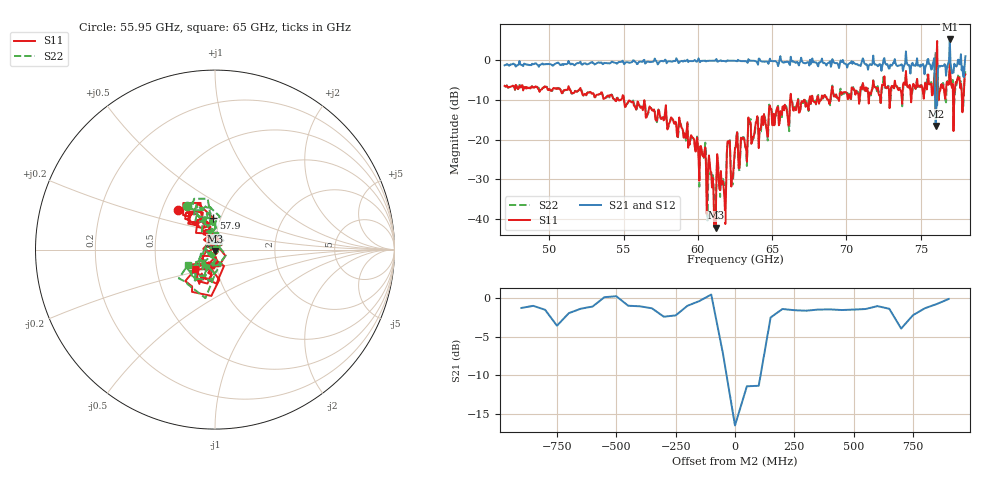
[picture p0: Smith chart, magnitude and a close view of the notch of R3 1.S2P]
! Python used to change reference impedance from 50 to 1.
# Hz S RI R 1
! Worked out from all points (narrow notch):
!   621 points, 47 GHz to 78 GHz, reference 1 ohm
!   highest |S21| = 5.27 dB at 76.95 GHz (marker M1); lowest = -16.5 dB at 76 GHz (marker M2)
!   notch at M2: 15.8 dB deep, 158 MHz wide at half that depth
!   lowest |S11| = -42.1 dB at 61.2 GHz (marker M3), VSWR 1.02, Z = 1 - j0.015 ohm
!   |S11| at or under -10 dB: 55.03 GHz to 66.21 GHz (11.18 GHz wide, 18.4 % of centre); 66.29 GHz to 66.75 GHz (456.2 MHz wide, 0.686 % of centre); 66.75 GHz to 67.15 GHz (396.6 MHz wide, 0.592 % of centre)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
!   |S22| runs from -40.3 to 2.1 dB; largest |S21 - S12| = 0.56
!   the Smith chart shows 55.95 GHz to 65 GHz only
!   S11 on the Smith chart (normalised r, x): 55.95 GHz: 0.61, +0.30; 57.9 GHz: 0.92, +0.33; 65 GHz: 0.79, -0.17
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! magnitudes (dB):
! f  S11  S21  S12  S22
! 47 GHz  -6.5  -1.3  -1.3  -6.7
! 52.2 GHz  -8.1  -1.1  -1.1  -7.8
! 55.95 GHz  -10.4  -1.0  -1.0  -10.7
! 57.35 GHz  -12.5  -0.9  -0.9  -12.4
! 57.9 GHz  -15.1  -0.8  -0.8  -14.6
! 60.35 GHz  -23.8  -0.2  -0.2  -23.9
! 60.85 GHz  -28.0  -0.2  -0.2  -28.7
! 61.05 GHz  -32.8  -0.2  -0.2  -29.8
! 61.2 GHz  -42.1  -0.1  -0.1  -38.3
! 61.4 GHz  -30.0  -0.3  -0.3  -28.3
! 61.75 GHz  -32.7  -0.2  -0.2  -30.8
! 62.05 GHz  -20.7  -0.2  -0.2  -20.7
! 62.35 GHz  -29.7  -0.2  -0.2  -31.3
! 62.5 GHz  -22.2  -0.2  -0.2  -22.1
! 65 GHz  -16.3  -0.2  -0.2  -15.3
! 67.7 GHz  -9.0  0.4  0.4  -9.6
! 72.85 GHz  -7.2  -2.1  -2.1  -6.6
! 75.75 GHz  -8.9  -2.2  -2.2  -7.1
! 76 GHz  -13.3  -16.5  -16.5  2.1
! 76.3 GHz  -7.7  -1.6  -1.6  -7.7
! 76.95 GHz  0.0  5.3  5.3  -0.7
! 78 GHz  -3.6  1.0  1.0  -2.8
